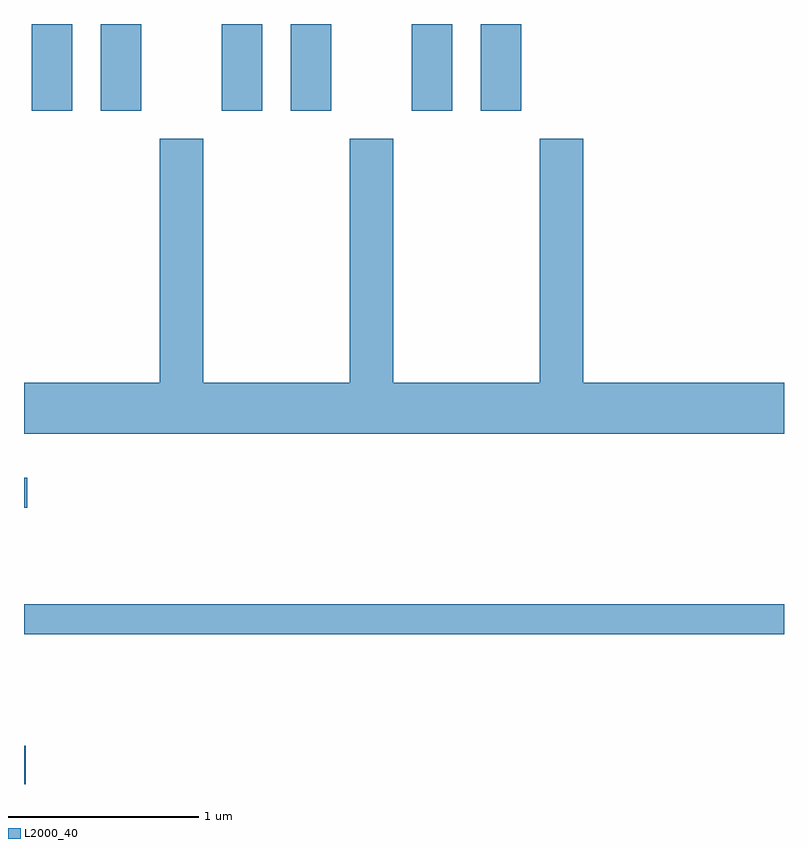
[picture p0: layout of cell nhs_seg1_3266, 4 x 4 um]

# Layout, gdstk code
import gdstk
lib = gdstk.Library(unit=1e-6, precision=1e-09)
def R(c, l, rs):  # rectangles x0, y0, x1, y1
    for r in rs: c.add(gdstk.rectangle(r[:2], r[2:], *l))
def P(c, l, *ps):  # polygons
    for p in ps: c.add(gdstk.Polygon(p, *l))
L2000_40 = (2000, 40)

nhs_seg1_3266 = lib.new_cell('nhs_seg1_3266')
R(nhs_seg1_3266, L2000_40, [(283.611,917.712,283.619,917.914), (283.611,918.501,287.611,918.659), (283.611,919.166,283.628,919.324), (283.651,921.256,283.864,921.712), (284.016,921.256,284.229,921.712), (284.651,921.256,284.864,921.712), (285.016,921.256,285.229,921.712), (285.651,921.256,285.864,921.712), (286.016,921.256,286.229,921.712)])
P(nhs_seg1_3266, L2000_40, [(287.611,919.824),(286.554,919.824),(286.554,921.109),(286.326,921.109),(286.326,919.824),(285.554,919.824),(285.554,921.109),(285.326,921.109),(285.326,919.824),(284.554,919.824),(284.554,921.109),(284.326,921.109),(284.326,919.824),(283.611,919.824),(283.611,919.556),(287.611,919.556)])

lib.write_gds('nhs_seg1_3266.gds')
